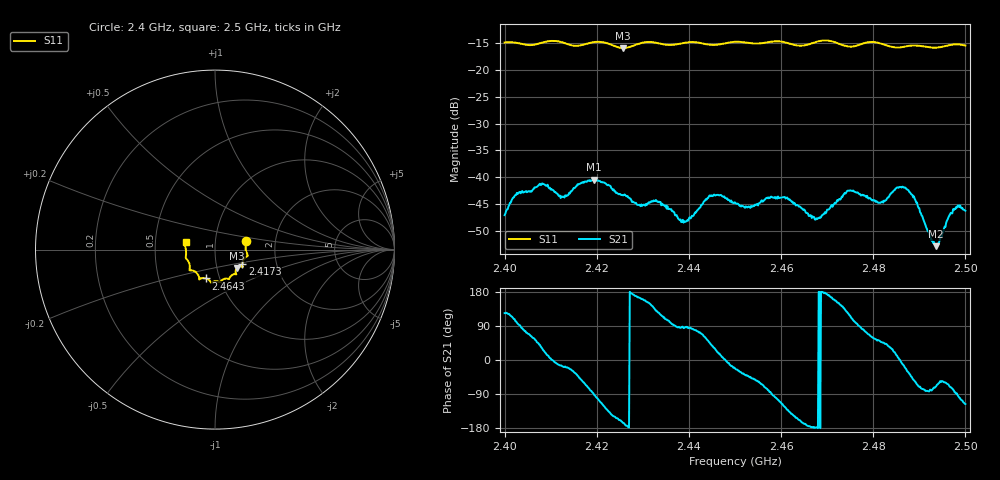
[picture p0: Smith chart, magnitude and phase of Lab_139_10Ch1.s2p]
# Hz S RI R 50
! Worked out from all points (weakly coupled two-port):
!   601 points, 2.4 GHz to 2.5 GHz, reference 50 ohm
!   highest |S21| = -40.47 dB at 2.4193 GHz (marker M1); lowest = -52.9 dB at 2.4937 GHz (marker M2)
!   lowest |S11| = -15.9 dB at 2.4257 GHz (marker M3), VSWR 1.38, Z = 62.4 - j13.1 ohm
!   |S11| at or under -10 dB: start of sweep to end of sweep
!   S12 and S22 are empty: the file has one direction only
!   S11 on the Smith chart (normalised r, x): 2.4 GHz: 1.41, +0.14; 2.4173 GHz: 1.34, -0.23; 2.4643 GHz: 0.86, -0.29; 2.5 GHz: 0.72, +0.06
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2.4e9  0.1734 0.0492  -0.00246 0.00368  0 0  0 0
2.403167e9  0.1739 0.0328  -0.000287 0.00723  0 0  0 0
2.408167e9  0.1784 -0.0224  0.00757 0.0044  0 0  0 0
2.412667e9  0.1756 -0.0392  0.00622 -0.00196  0 0  0 0
2.416667e9  0.153 -0.0742  0.00539 -0.00708  0 0  0 0
2.417333e9  0.1526 -0.0816  0.00435 -0.00797  0 0  0 0
2.419333e9  0.1539 -0.096  7.81e-05 -0.00947  0 0  0 0
2.425667e9  0.1226 -0.1025  -0.00656 -0.00167  0 0  0 0
2.433333e9  0.1128 -0.1368  -0.00337 0.00478  0 0  0 0
2.438833e9  0.0808 -0.1586  0.000384 0.00375  0 0  0 0
2.444833e9  0.0572 -0.1615  0.00517 0.00438  0 0  0 0
2.45e9  0.029 -0.1808  0.00538 -0.00219  0 0  0 0
2.460333e9  -0.0239 -0.1814  -0.00291 -0.00581  0 0  0 0
2.464333e9  -0.0499 -0.1608  -0.00495 -0.00157  0 0  0 0
2.466667e9  -0.0761 -0.1598  -0.00416 -0.000227  0 0  0 0
2.474833e9  -0.1046 -0.1277  -0.00355 0.00659  0 0  0 0
2.481e9  -0.142 -0.1094  0.00353 0.00461  0 0  0 0
2.483333e9  -0.1405 -0.0901  0.00525 0.00381  0 0  0 0
2.4875e9  -0.158 -0.0536  0.00653 -0.00391  0 0  0 0
2.493667e9  -0.1613 -0.00585  0.000806 -0.00213  0 0  0 0
2.497167e9  -0.17 0.0271  0.00115 -0.00446  0 0  0 0
2.5e9  -0.1636 0.0419  -0.00215 -0.00436  0 0  0 0
